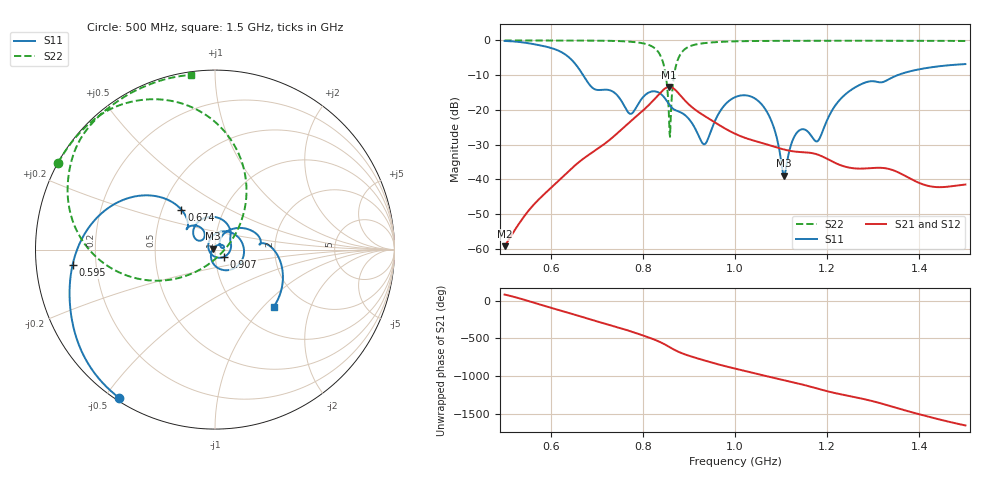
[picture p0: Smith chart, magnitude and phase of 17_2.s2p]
! TOUCHSTONE file generated by CST MICROWAVE STUDIO
! Date and time: Fri Oct  2 16:30:34 2020
! Project name: Scenario_1_Free_Space_out_of_line.cst
! Parameters = {Lambda=346.42; Step_1=17.321; dy1=70.184; dx1=346; L_HA=400; MT=2.54; Rad_Dielectric=30; Rad_Lower=7.3; Rad_Upper=30; a_HA=580; a_WG=246; b_HA=500; b_WG=121; c_HA=0; c_WG=187; d_feed=85; h_feed=15; h_lower=18; h_upper=40}
! Header version: 2018
! Port assignment regex: !\s*Touchstone port\s*([0-9]+)\s*=\s*(CST MWS port|CST DS port)\s*([0-9]+|Zmin|Zmax)\s*\(\"(.*)\"\)(\s*mode\s*([0-9]+))?.*
! Touchstone port assignment:
! Touchstone port 1 = CST MWS port 1 ("")
! Touchstone port 2 = CST MWS port 2 ("")
# GHz S DB R 50
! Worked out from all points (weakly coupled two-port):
!   1003 points, 500 MHz to 1.5 GHz, reference 50 ohm
!   highest |S21| = -13.35 dB at 857 MHz (marker M1); lowest = -59.2 dB at 500 MHz (marker M2)
!   lowest |S11| = -38.9 dB at 1.106 GHz (marker M3), VSWR 1.02, Z = 49.1 + j0.598 ohm
!   |S11| at or under -10 dB: 670.5 MHz to 1.353 GHz (682.2 MHz wide, 67.4 % of centre)
!   |S22| runs from -27.7 to 0.0 dB; largest |S21 - S12| = 3.6e-05
!   S11 on the Smith chart (normalised r, x): 500 MHz: 0.01, -0.55; 595 MHz: 0.11, -0.05; 674 MHz: 0.63, +0.30; 907 MHz: 1.10, -0.09; 1.5 GHz: 1.42, -1.15
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0.5  -0.14 -122.8  -59.20 78.4  -59.20 78.4  -0.01 151.1
0.595  -1.96 -173.9  -43.11 -85.7  -43.11 -85.7  -0.02 144.5
0.637  -4.57 152.6  -37.86 -158.7  -37.86 -158.7  -0.03 141.1
0.667  -9.28 131.4  -34.41 145.9  -34.41 145.9  -0.04 138.3
0.674  -10.74 130.1  -33.72 132.9  -33.72 132.9  -0.05 137.6
0.773  -21.13 137.3  -23.31 -44.8  -23.31 -44.8  -0.37 122.1
0.834  -14.97 85.0  -15.62 -177.4  -15.62 -177.4  -3.42 86.6
0.847  -16.49 59.2  -13.93 144.1  -13.93 144.1  -8.01 63.9
0.857  -18.37 43.9  -13.35 110.0  -13.35 110.0  -22.66 16.3
0.876  -20.35 23.5  -15.00 48.3  -15.00 48.3  -5.52 -165.1
0.907  -23.86 -39.4  -19.24 -20.6  -19.24 -20.6  -1.43 163.6
0.935  -29.80 -158.5  -21.82 -71.3  -21.82 -71.3  -0.75 152.6
1  -16.33 19.7  -26.84 -176.3  -26.84 -176.3  -0.25 140.3
1.066  -19.83 -82.2  -29.80 88.0  -29.80 88.0  -0.14 132.7
1.086  -25.77 -115.3  -30.61 58.9  -30.61 58.9  -0.13 130.9
1.106  -38.95 147.3  -31.37 30.7  -31.37 30.7  -0.12 129.1
1.134  -26.59 33.7  -32.03 -8.2  -32.03 -8.2  -0.11 126.7
1.167  -27.73 12.3  -32.41 -59.6  -32.41 -59.6  -0.10 124.1
1.182  -28.55 43.7  -32.96 -85.1  -32.96 -85.1  -0.10 123.0
1.247  -14.72 41.1  -36.57 -176.1  -36.57 -176.1  -0.08 118.0
1.334  -11.16 7.2  -36.97 55.7  -36.97 55.7  -0.09 111.4
1.5  -6.80 -44.4  -41.46 155.3  -41.49 155.4  -0.15 97.9
